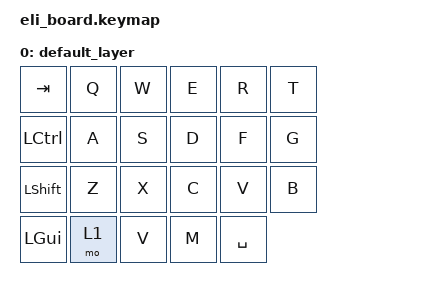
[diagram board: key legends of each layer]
#include <behaviors.dtsi>
#include <dt-bindings/zmk/keys.h>

/ {
    keymap {
        compatible = "zmk,keymap";

        default_layer {
            bindings = <
               &kp TAB   &kp Q &kp W &kp E &kp R &kp T
               &kp LCTRL &kp A &kp S &kp D &kp F &kp G
               &kp LSHFT &kp Z &kp X &kp C &kp V &kp B
               &kp LGUI  &mo 1 &kp V &kp M &kp SPACE
            >;
        };
    };
};
